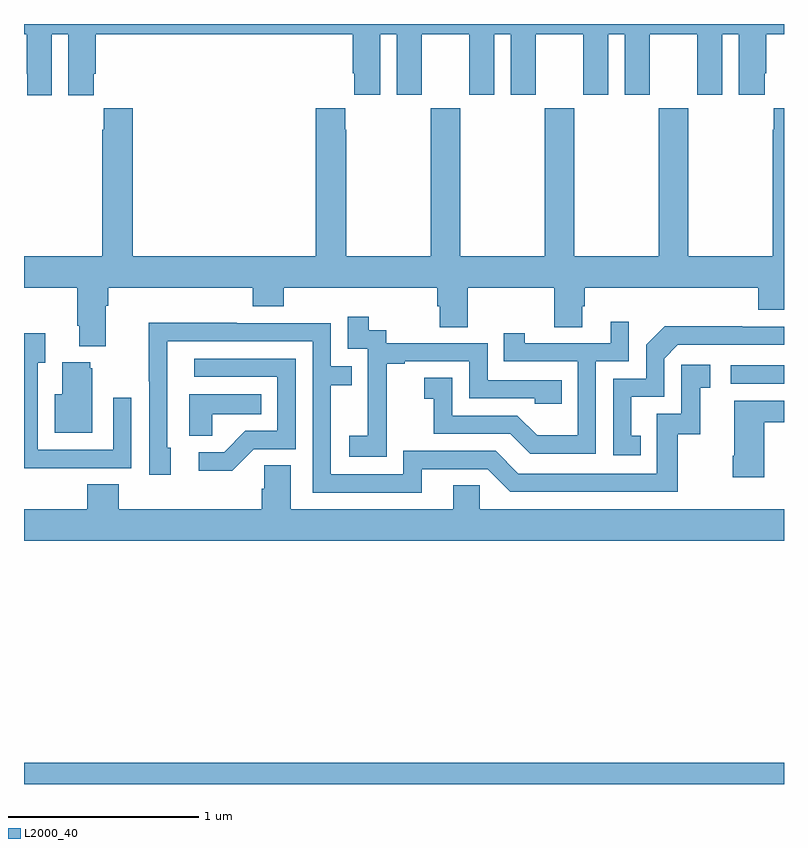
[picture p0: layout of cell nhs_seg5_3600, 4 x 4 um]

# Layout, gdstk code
import gdstk
lib = gdstk.Library(unit=1e-6, precision=1e-09)
def R(c, l, rs):  # rectangles x0, y0, x1, y1
    for r in rs: c.add(gdstk.rectangle(r[:2], r[2:], *l))
def P(c, l, *ps):  # polygons
    for p in ps: c.add(gdstk.Polygon(p, *l))
L2000_40 = (2000, 40)

nhs_seg5_3600 = lib.new_cell('nhs_seg5_3600')
R(nhs_seg5_3600, L2000_40, [(323,868.799,327,868.912), (326.721,870.906,327,871.002)])
P(nhs_seg5_3600, L2000_40, [(324.731,872.539),(324.737,872.539),(324.737,872.427),(324.874,872.427),(324.874,872.744),(324.962,872.744),(324.962,872.427),(325.093,872.427),(325.093,872.744),(325.343,872.744),(325.343,872.427),(325.474,872.427),(325.474,872.744),(325.562,872.744),(325.562,872.427),(325.693,872.427),(325.693,872.744),(325.943,872.744),(325.943,872.427),(326.074,872.427),(326.074,872.744),(326.162,872.744),(326.162,872.427),(326.293,872.427),(326.293,872.744),(326.543,872.744),(326.543,872.427),(326.674,872.427),(326.674,872.744),(326.762,872.744),(326.762,872.427),(326.899,872.427),(326.899,872.539),(326.906,872.539),(326.906,872.744),(327,872.744),(327,872.799),(323,872.799),(323,872.744),(323.015,872.744),(323.015,872.536),(323.016,872.536),(323.016,872.424),(323.146,872.424),(323.146,872.744),(323.234,872.744),(323.234,872.424),(323.368,872.424),(323.368,872.536),(323.378,872.536),(323.378,872.744),(324.731,872.744)],
  [(323.431,871.316),(323.444,871.316),(323.444,871.412),(324.203,871.412),(324.203,871.313),(324.368,871.313),(324.368,871.412),(325.175,871.412),(325.175,871.314),(325.187,871.314),(325.187,871.204),(325.335,871.204),(325.335,871.412),(325.792,871.412),(325.792,871.204),(325.939,871.204),(325.939,871.314),(325.952,871.314),(325.952,871.412),(326.864,871.412),(326.864,871.295),(327,871.295),(327,872.356),(326.945,872.356),(326.945,872.243),(326.941,872.243),(326.941,871.576),(326.496,871.576),(326.496,872.356),(326.341,872.356),(326.341,871.576),(325.896,871.576),(325.896,872.356),(325.741,872.356),(325.741,871.576),(325.296,871.576),(325.296,872.356),(325.141,872.356),(325.141,871.576),(324.696,871.576),(324.696,872.243),(324.691,872.243),(324.691,872.356),(324.536,872.356),(324.536,871.576),(323.573,871.576),(323.573,872.356),(323.419,872.356),(323.419,872.243),(323.413,872.243),(323.413,871.576),(323,871.576),(323,871.412),(323.279,871.412),(323.279,871.21),(323.291,871.21),(323.291,871.103),(323.431,871.103)],
  [(324.909,870.727),(324.908,870.727),(324.908,871.011),(325.003,871.011),(325.003,871.023),(325.344,871.023),(325.344,870.828),(325.689,870.828),(325.689,870.801),(325.829,870.801),(325.829,870.924),(325.44,870.924),(325.44,871.119),(324.906,871.119),(324.906,871.188),(324.814,871.188),(324.814,871.258),(324.705,871.258),(324.705,871.089),(324.81,871.089),(324.81,870.86),(324.809,870.86),(324.809,870.631),(324.711,870.631),(324.711,870.521),(324.909,870.521)],
  [(326.01,871.023),(326.184,871.023),(326.184,871.231),(326.087,871.231),(326.087,871.119),(325.636,871.119),(325.636,871.171),(325.525,871.171),(325.525,871.023),(325.914,871.023),(325.914,870.634),(325.7,870.634),(325.596,870.738),(325.254,870.738),(325.254,870.937),(325.107,870.937),(325.107,870.827),(325.156,870.827),(325.156,870.642),(325.559,870.642),(325.664,870.537),(326.01,870.537)],
  [(325.093,870.456),(325.44,870.456),(325.56,870.336),(326.44,870.336),(326.44,870.639),(326.558,870.639),(326.558,870.885),(326.611,870.885),(326.611,871.006),(326.46,871.006),(326.46,870.747),(326.331,870.747),(326.331,870.432),(325.602,870.432),(325.482,870.552),(324.996,870.552),(324.996,870.429),(324.615,870.429),(324.615,870.898),(324.725,870.898),(324.725,870.999),(324.615,870.999),(324.615,871.224),(324.119,871.224),(324.119,871.226),(323.656,871.226),(323.656,870.919),(323.658,870.919),(323.658,870.426),(323.773,870.426),(323.773,870.57),(323.754,870.57),(323.754,871.128),(324.519,871.128),(324.519,870.333),(325.093,870.333)],
  [(326.246,870.633),(326.197,870.633),(326.197,870.837),(326.37,870.837),(326.37,871.038),(326.442,871.11),(327,871.11),(327,871.206),(326.78,871.206),(326.78,871.208),(326.372,871.208),(326.274,871.11),(326.274,870.933),(326.1,870.933),(326.1,870.528),(326.246,870.528)],
  [(323.249,870.462),(323.565,870.462),(323.565,870.832),(323.469,870.832),(323.469,870.558),(323.073,870.558),(323.073,871.015),(323.113,871.015),(323.113,871.171),(323,871.171),(323,870.461),(323.249,870.461)],
  [(324.21,870.561),(324.429,870.561),(324.429,871.038),(323.895,871.038),(323.895,870.942),(324.333,870.942),(324.333,870.657),(324.164,870.657),(324.053,870.546),(323.919,870.546),(323.919,870.449),(324.097,870.449)],
  [(323.359,870.987),(323.348,870.987),(323.348,871.018),(323.201,871.018),(323.201,870.85),(323.162,870.85),(323.162,870.647),(323.359,870.647)],
  [(323.991,870.746),(324.248,870.746),(324.248,870.85),(323.87,870.85),(323.87,870.631),(323.991,870.631)],
  [(326.896,870.703),(327,870.703),(327,870.817),(326.738,870.817),(326.738,870.526),(326.731,870.526),(326.731,870.414),(326.896,870.414)],
  [(327,870.244),(325.398,870.244),(325.398,870.371),(325.259,870.371),(325.259,870.244),(324.403,870.244),(324.403,870.476),(324.264,870.476),(324.264,870.353),(324.251,870.353),(324.251,870.244),(323.498,870.244),(323.498,870.377),(323.333,870.377),(323.333,870.244),(323,870.244),(323,870.08),(327,870.08)])

lib.write_gds('nhs_seg5_3600.gds')
